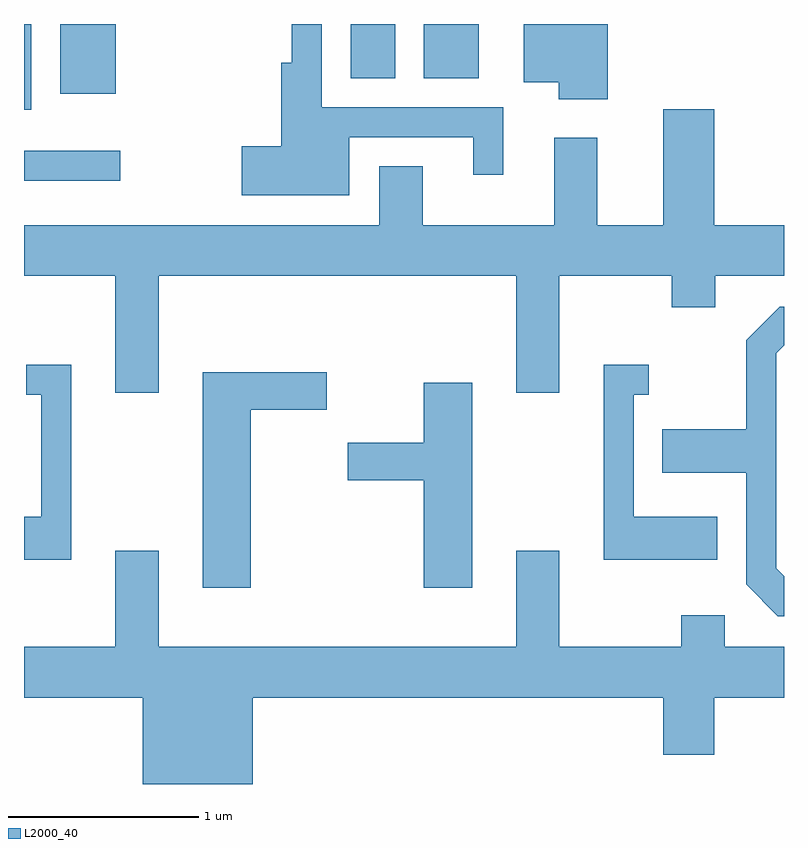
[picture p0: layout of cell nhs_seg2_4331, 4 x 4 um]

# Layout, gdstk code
import gdstk
lib = gdstk.Library(unit=1e-6, precision=1e-09)
def R(c, l, rs):  # rectangles x0, y0, x1, y1
    for r in rs: c.add(gdstk.rectangle(r[:2], r[2:], *l))
def P(c, l, *ps):  # polygons
    for p in ps: c.add(gdstk.Polygon(p, *l))
L2000_40 = (2000, 40)

nhs_seg2_4331 = lib.new_cell('nhs_seg2_4331')
R(nhs_seg2_4331, L2000_40, [(311.611,1110.976,312.118,1111.134), (311.611,1111.351,311.649,1111.802), (311.801,1111.436,312.094,1111.802), (313.331,1111.516,313.564,1111.802), (313.716,1111.516,314.004,1111.802)])
P(nhs_seg2_4331, L2000_40, [(313.324,1111.206),(313.976,1111.206),(313.976,1111.008),(314.134,1111.008),(314.134,1111.364),(313.179,1111.364),(313.179,1111.802),(313.021,1111.802),(313.021,1111.599),(312.966,1111.599),(312.966,1111.159),(312.756,1111.159),(312.756,1110.901),(313.324,1110.901)],
  [(314.684,1111.802),(314.241,1111.802),(314.241,1111.496),(314.426,1111.496),(314.426,1111.406),(314.684,1111.406)],
  [(312.319,1110.476),(314.201,1110.476),(314.201,1109.861),(314.429,1109.861),(314.429,1110.476),(315.021,1110.476),(315.021,1110.311),(315.249,1110.311),(315.249,1110.476),(315.611,1110.476),(315.611,1110.744),(315.244,1110.744),(315.244,1111.354),(314.976,1111.354),(314.976,1110.744),(314.629,1110.744),(314.629,1111.204),(314.401,1111.204),(314.401,1110.744),(313.709,1110.744),(313.709,1111.054),(313.481,1111.054),(313.481,1110.744),(311.611,1110.744),(311.611,1110.476),(312.091,1110.476),(312.091,1109.861),(312.319,1109.861)],
  [(315.611,1108.895),(315.569,1108.937),(315.569,1110.069),(315.611,1110.111),(315.611,1110.314),(315.589,1110.314),(315.411,1110.137),(315.411,1109.669),(314.971,1109.669),(314.971,1109.441),(315.411,1109.441),(315.411,1108.854),(315.579,1108.686),(315.611,1108.686)],
  [(311.859,1110.009),(311.623,1110.009),(311.623,1109.851),(311.701,1109.851),(311.701,1109.209),(311.611,1109.209),(311.611,1108.981),(311.859,1108.981)],
  [(315.259,1109.209),(314.819,1109.209),(314.819,1109.851),(314.898,1109.851),(314.898,1110.009),(314.661,1110.009),(314.661,1108.981),(315.259,1108.981)],
  [(312.804,1109.771),(313.204,1109.771),(313.204,1109.969),(312.551,1109.969),(312.551,1108.836),(312.804,1108.836)],
  [(313.969,1109.914),(313.716,1109.914),(313.716,1109.599),(313.316,1109.599),(313.316,1109.401),(313.716,1109.401),(313.716,1108.836),(313.969,1108.836)],
  [(312.814,1108.256),(314.976,1108.256),(314.976,1107.956),(315.244,1107.956),(315.244,1108.256),(315.611,1108.256),(315.611,1108.524),(315.299,1108.524),(315.299,1108.689),(315.071,1108.689),(315.071,1108.524),(314.429,1108.524),(314.429,1109.029),(314.201,1109.029),(314.201,1108.524),(312.319,1108.524),(312.319,1109.029),(312.091,1109.029),(312.091,1108.524),(311.611,1108.524),(311.611,1108.256),(312.236,1108.256),(312.236,1107.802),(312.814,1107.802)])

lib.write_gds('nhs_seg2_4331.gds')
